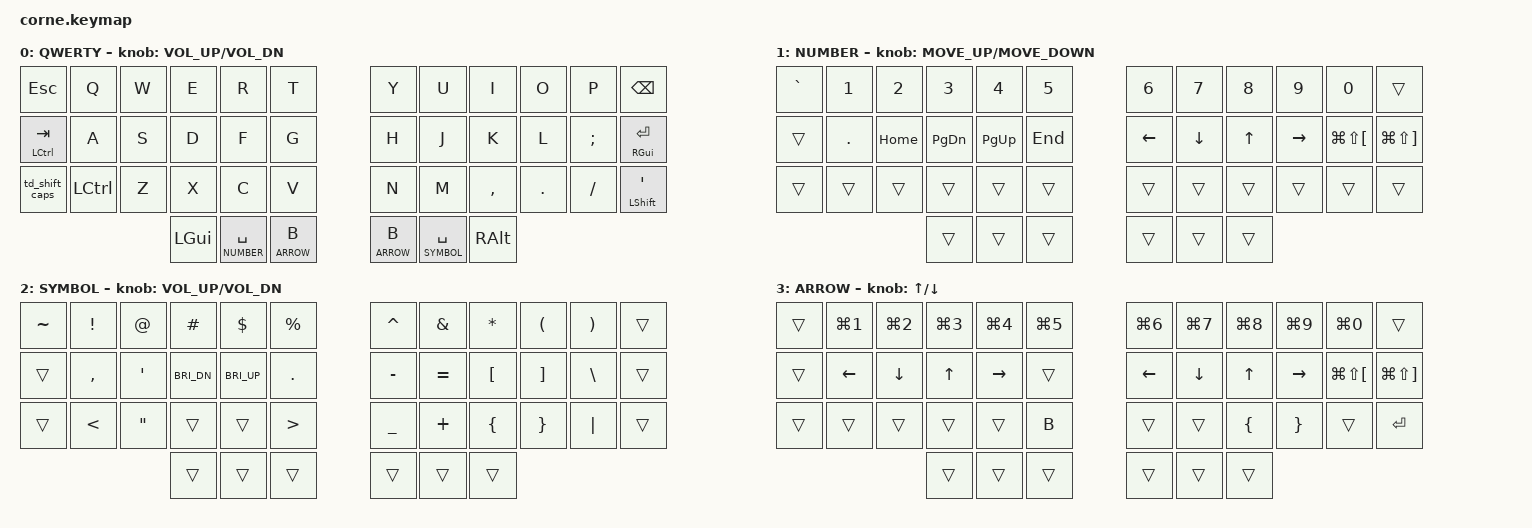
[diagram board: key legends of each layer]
#include <behaviors.dtsi>
#include <dt-bindings/zmk/keys.h>
#include <dt-bindings/zmk/bt.h>
#include <dt-bindings/zmk/mouse.h>
#include <dt-bindings/zmk/pointing.h>

#define QWERTY 0
#define NUMBER 1
#define SYMBOL 2
#define ARROW  3

/ {
    behaviors {
        td_shift_caps: tap_dance_shift_caps {
            compatible = "zmk,behavior-tap-dance";
            #binding-cells = <0>;
            tapping-term-ms = <200>;
            bindings = <&kp LSHIFT>, <&caps_word>;
        };
    };

    keymap {
        compatible = "zmk,keymap";

        // ╔═══════════════════════════════════════════════════════════╗
        // ║  LAYER 0 - QWERTY                                         ║
        // ╚═══════════════════════════════════════════════════════════╝
        qwerty_layer {
            display-name = "QWERTY";
            bindings = <
// ┌─────────────┬─────┬─────┬─────┬─────┬─────┐                 ┌─────┬─────┬─────┬─────┬─────┬──────────────┐
   &kp ESC        &kp Q &kp W &kp E &kp R &kp T                   &kp Y &kp U &kp I &kp O &kp P &kp BSPC
// ├─────────────┼─────┼─────┼─────┼─────┼─────┤                 ├─────┼─────┼─────┼─────┼─────┼──────────────┤
   &mt LCTRL TAB  &kp A &kp S &kp D &kp F &kp G                   &kp H &kp J &kp K &kp L &kp SEMI &mt RGUI RET
// ├─────────────┼─────┼─────┼─────┼─────┼─────┤                 ├─────┼─────┼─────┼─────┼─────┼──────────────┤
   &td_shift_caps &kp LCTRL &kp Z &kp X &kp C &kp V               &kp N &kp M &kp COMMA &kp DOT &kp FSLH &mt LSHIFT SQT
// └─────────────┴─────┴─────┴──┬──┴──┬──┴──┬──┘                 └──┬──┴──┬──┴──┬──┴─────┴─────┴──────────────┘
                                &kp LGUI &lt NUMBER SPACE &lt ARROW B   &lt ARROW B &lt SYMBOL SPACE &kp RALT
//                              └────────┴─────────────┴──────────┘   └──────────┴─────────────┴────────┘
            >;
            sensor-bindings = <&inc_dec_kp C_VOL_UP C_VOL_DN>;
        };

        // ╔═══════════════════════════════════════════════════════════╗
        // ║  LAYER 1 - NUMBER                                         ║
        // ╚═══════════════════════════════════════════════════════════╝
        number_layer {
            display-name = "NUMBER";
            bindings = <
// ┌──────┬─────┬──────┬───────┬───────┬─────┐                 ┌──────┬──────┬──────┬──────┬─────┬─────┐
   &kp GRAVE &kp N1 &kp N2 &kp N3 &kp N4 &kp N5               &kp N6 &kp N7 &kp N8 &kp N9 &kp N0 &trans
// ├──────┼─────┼──────┼───────┼───────┼─────┤                 ├──────┼──────┼──────┼──────┼─────┼─────┤
   &trans &kp DOT &kp HOME &kp PG_DN &kp PG_UP &kp END          &kp LEFT &kp DOWN &kp UP &kp RIGHT &kp LG(LS(LBKT)) &kp LG(LS(RBKT))
// ├──────┼─────┼──────┼───────┼───────┼─────┤                 ├──────┼──────┼──────┼──────┼─────┼─────┤
   &trans &trans &trans &trans &trans &trans                     &trans &trans &trans &trans &trans &trans
// └──────┴─────┴──────┴───┬───┴───┬───┴──┬──┘                 └──┬───┴──┬───┴──┬───┴──────┴─────┴─────┘
                           &trans  &trans  &trans                  &trans  &trans  &trans
//                         └───────┴───────┴──────┘               └───────┴───────┴───────┘
            >;
            sensor-bindings = <&inc_dec_mmv MOVE_UP MOVE_DOWN>;
        };

        // ╔═══════════════════════════════════════════════════════════╗
        // ║  LAYER 2 - SYMBOL                                         ║
        // ╚═══════════════════════════════════════════════════════════╝
        symbol_layer {
            display-name = "SYMBOL";
            bindings = <
// ┌──────┬─────┬─────┬─────┬─────┬─────┐                 ┌─────┬─────┬─────┬─────┬─────┬─────┐
   &kp TILDE &kp EXCL &kp AT &kp HASH &kp DLLR &kp PRCNT   &kp CARET &kp AMPS &kp STAR &kp LPAR &kp RPAR &trans
// ├──────┼─────┼─────┼─────┼─────┼─────┤                 ├─────┼─────┼─────┼─────┼─────┼─────┤
   &trans &kp COMMA &kp SQT &kp C_BRI_DN &kp C_BRI_UP &kp DOT   &kp MINUS &kp EQUAL &kp LBKT &kp RBKT &kp BSLH &trans
// ├──────┼─────┼─────┼─────┼─────┼─────┤                 ├─────┼─────┼─────┼─────┼─────┼─────┤
   &trans &kp LT &kp DQT &trans &trans &kp GT               &kp UNDER &kp PLUS &kp LBRC &kp RBRC &kp PIPE &trans
// └──────┴─────┴─────┴──┬──┴──┬──┴──┬──┘                 └──┬──┴──┬──┴──┬──┴─────┴─────┴─────┘
                         &trans &trans &trans                  &trans &trans &trans
//                       └──────┴──────┴──────┘               └──────┴──────┴──────┘
            >;
            sensor-bindings = <&inc_dec_kp C_VOL_UP C_VOL_DN>;
        };

        // ╔═══════════════════════════════════════════════════════════╗
        // ║  LAYER 3 - ARROW                                          ║
        // ╚═══════════════════════════════════════════════════════════╝
        arrow_layer {
            display-name = "ARROW";
            bindings = <
// ┌──────┬─────┬─────┬─────┬─────┬─────┐                 ┌──────┬──────┬──────┬───────┬─────┬─────┐
   &trans &kp LG(N1) &kp LG(N2) &kp LG(N3) &kp LG(N4) &kp LG(N5)   &kp LG(N6) &kp LG(N7) &kp LG(N8) &kp LG(N9) &kp LG(N0) &trans
// ├──────┼─────┼─────┼─────┼─────┼─────┤                 ├──────┼──────┼──────┼───────┼─────┼─────┤
   &trans &kp LEFT &kp DOWN &kp UP &kp RIGHT &trans          &kp LEFT &kp DOWN &kp UP &kp RIGHT &kp LG(LS(LBKT)) &kp LG(LS(RBKT))
// ├──────┼─────┼─────┼─────┼─────┼─────┤                 ├──────┼──────┼──────┼───────┼─────┼─────┤
   &trans &trans &trans &trans &trans &kp B                  &trans &trans &kp LBRC &kp RBRC &trans &kp RET
// └──────┴─────┴─────┴──┬──┴──┬──┴──┬──┘                 └──┬───┴──┬───┴──┬───┴───────┴─────┴─────┘
                         &trans &trans &trans                  &trans &trans &trans
//                       └──────┴──────┴──────┘               └───────┴──────┴──────┘
            >;
            sensor-bindings = <&inc_dec_kp UP DOWN>;
        };
    };
};
